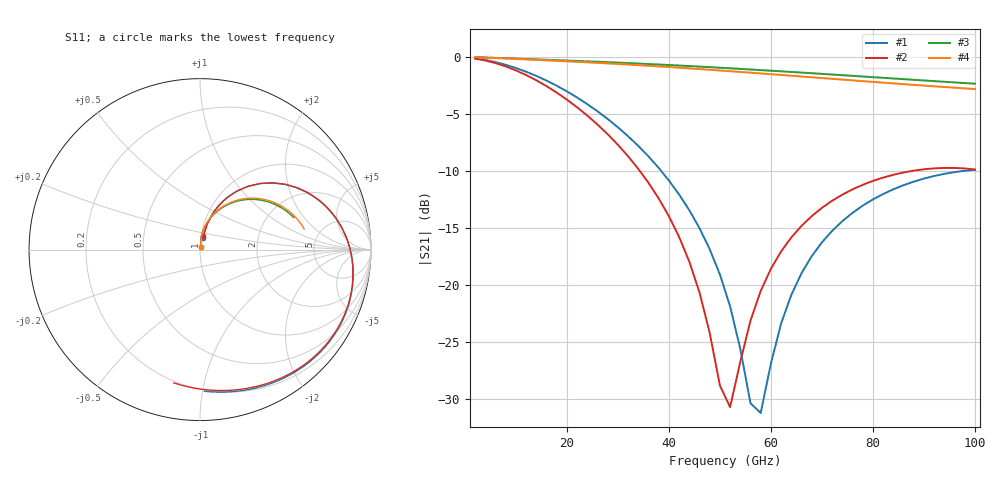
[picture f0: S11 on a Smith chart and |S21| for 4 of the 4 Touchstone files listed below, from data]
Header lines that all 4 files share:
! List of port names and net name(s): example Port n = <port_name> <net_name1> <net_name2> ...
! Port 1 = P1 P1
# hz S ma R 50
! Port[1]
! Port[2]
! 2 Port Network Data from data block
! freq  magS11  angS11  magS21  angS21  magS12  angS12  magS22  angS22
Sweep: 2 GHz to 100 GHz
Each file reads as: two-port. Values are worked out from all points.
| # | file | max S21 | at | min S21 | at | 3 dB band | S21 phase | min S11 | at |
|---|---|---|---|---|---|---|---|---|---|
| 1 | Lg_RectInd_D140p0_N2_W12p0_S2p0_MomRF.s2p | -0.15 dB | 2 GHz | -31.3 dB | 58 GHz | 2 GHz-20 GHz | -130 deg at 52 GHz | -22.8 dB | 2 GHz |
| 2 | Lg_RectInd_D150p0_N2_W12p0_S2p0_MomRF.s2p | -0.16 dB | 2 GHz | -30.7 dB | 52 GHz | 2 GHz-18 GHz | 135 deg at 52 GHz | -21.7 dB | 2 GHz |
| 3 | Ls_RectInd_D100p0_N1_W10p0_S2p0_MomRF.s2p | -0.05 dB | 2 GHz | -2.4 dB | 100 GHz | 2 GHz-100 GHz | -40 deg at 52 GHz | -37.3 dB | 2 GHz |
| 4 | Ls_RectInd_D110p0_N1_W10p0_S2p0_MomRF.s2p | -0.05 dB | 2 GHz | -2.8 dB | 100 GHz | 2 GHz-100 GHz | -45 deg at 52 GHz | -35.9 dB | 2 GHz |
